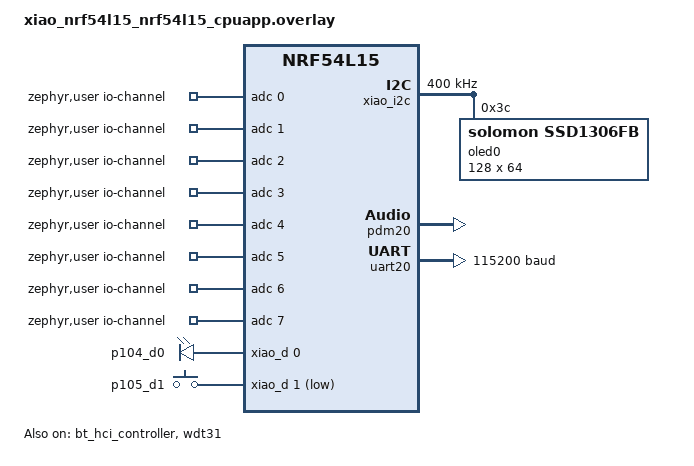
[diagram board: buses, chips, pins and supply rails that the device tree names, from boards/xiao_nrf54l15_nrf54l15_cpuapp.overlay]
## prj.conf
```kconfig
# ── 1. AI ENGINE & C++ ────────────────────────────────────────────────────────
CONFIG_CPP=y
CONFIG_STD_CPP17=y
CONFIG_EXTERNAL_LIBCPP=y
CONFIG_NEWLIB_LIBC=y
CONFIG_NEWLIB_LIBC_FLOAT_PRINTF=y
CONFIG_FPU=y

# ── 2. MEMORY & STACK FIXES ───────────────────────────────────────────────────
CONFIG_MAIN_STACK_SIZE=8192
CONFIG_HEAP_MEM_POOL_SIZE=16384
CONFIG_SYSTEM_WORKQUEUE_STACK_SIZE=4096
CONFIG_BT_RX_STACK_SIZE=2048
CONFIG_BT_HCI_TX_STACK_SIZE=2048
CONFIG_MPSL_WORK_STACK_SIZE=2048

# ── 3. HARDWARE & AUDIO ───────────────────────────────────────────────────────
CONFIG_GPIO=y
CONFIG_AUDIO=y
CONFIG_AUDIO_DMIC=y
CONFIG_REGULATOR=y
# ── 4. BLUETOOTH (Explicitly kill the clash) ──────────────────────────────────
CONFIG_BT=y
CONFIG_BT_PERIPHERAL=y
CONFIG_BT_DEVICE_NAME="XIAO_SENSE"

# 1. Disable the Zephyr Open Source Controller (The cause of the error)
CONFIG_BT_CTLR=n
CONFIG_BT_LL_SW_SPLIT=n

# 2. Enable the Nordic SoftDevice Controller (The one for nRF54L)
CONFIG_BT_LL_SOFTDEVICE=y

# 3. Enable Bluetooth management features
CONFIG_BT_SETTINGS=y
CONFIG_FLASH=y
CONFIG_FLASH_MAP=y
CONFIG_NVS=y
CONFIG_SETTINGS=y

# ── 5. POWER MANAGEMENT ───────────────────────────────────────────────────────
CONFIG_PM=y
CONFIG_PM_DEVICE=y
CONFIG_PM_DEVICE_RUNTIME=y
CONFIG_TICKLESS_KERNEL=y
CONFIG_REGULATOR=y

# ── 6. LOGGING & CONSOLE (Total Silence) ──────────────────────────────────────
CONFIG_LOG=y
CONFIG_SERIAL=y
CONFIG_UART_CONSOLE=y
CONFIG_CONSOLE=y
CONFIG_PRINTK=y
CONFIG_BOOT_BANNER=y
```

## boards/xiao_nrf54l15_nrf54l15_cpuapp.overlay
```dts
/ {
    chosen {
        zephyr,bt-hci   = &bt_hci_sdc;
        zephyr,display  = &oled0;
    };

    zephyr,user {
        io-channels = <&adc 0>, <&adc 1>, <&adc 2>, <&adc 3>,
                      <&adc 4>, <&adc 5>, <&adc 6>, <&adc 7>;
    };

    o_ports {
        compatible = "gpio-leds";
        p104_d0: p104_d0 {
            gpios = <&xiao_d 0 GPIO_ACTIVE_HIGH>;
        };
    };

    i_port {
        compatible = "gpio-keys";
        p105_d1: p105_d1 {
            gpios = <&xiao_d 1 (GPIO_PULL_UP | GPIO_ACTIVE_LOW)>;
            zephyr,code = <INPUT_KEY_ENTER>;
        };
    };

    aliases {
        p104d0 = &p104_d0;
        p105d1 = &p105_d1;
    };
};

/* --- 1. I2C DISPLAY --- */
&xiao_i2c {
    clock-frequency = <400000>;
    status = "okay";
    zephyr,concat-buf-size = <1025>;
    zephyr,flash-buf-max-size = <1025>;
    oled0: ssd1306@3c {
        compatible = "solomon,ssd1306fb";
        reg = <0x3c>;
        width = <128>;
        height = <64>;
        segment-offset = <0>;
        page-offset = <0>;
        display-offset = <0>;
        multiplex-ratio = <63>;
        segment-remap;
        com-invdir;
        prechargep = <0x22>;
    };
};

/* --- 2. BLE CONTROLLER --- */
&bt_hci_controller {
    status = "okay";
};

/* --- 3. AI & AUDIO --- */
&wdt31 {
    status = "okay";
};

dmic_dev: &pdm20 {
    status = "okay";
};

&uart20 {
    current-speed = <115200>;
};
```

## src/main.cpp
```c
/*
 * nRF54L15 — Continuous Keyword Spotting  (sliding-window edition)
 *
 * Key changes vs v1:
 *   • 50% overlapping windows (0.5 s stride over 1.0 s window) so a "hello"
 *     spoken across a chunk boundary is always fully captured in one window.
 *   • No mid-loop audio drain — the overlap itself covers boundaries, and
 *     audio buffered during inference is real signal we want, not garbage.
 *   • "hello" looked up by label name, not hardcoded index 0 — survives
 *     EI project label reordering.
 *   • Detection cooldown prevents one utterance firing 3–4 overlapping windows.
 *   • PDM warmup drain at startup removes oscillator settle-time garbage.
 *   • Dead code (unused best_idx) removed.
 *   • Per-cycle timing printed for profiling.
 */

#include <stdio.h>
#include <string.h>
#include <zephyr/kernel.h>
#include <zephyr/audio/dmic.h>
#include <zephyr/drivers/gpio.h>
#include <zephyr/drivers/regulator.h>
#include <zephyr/bluetooth/bluetooth.h>
#include <zephyr/bluetooth/hci.h>
#include <zephyr/settings/settings.h>
#include <zephyr/pm/device.h>
#include <zephyr/pm/device_runtime.h>
#include <zephyr/sys_clock.h>

#include <edge-impulse-sdk/classifier/ei_run_classifier.h>

// ── 1. CONFIGURATION ──────────────────────────────────────────────────────────

#define SAMPLE_RATE                 16000
#define INF_SECONDS                 1.0f
#define STRIDE_SECONDS              0.5f

// Derived — do not edit these directly
#define INF_SAMPLES                 ((int)(SAMPLE_RATE * INF_SECONDS))    // 16 000
#define STRIDE_SAMPLES              ((int)(SAMPLE_RATE * STRIDE_SECONDS)) //  8 000
#define BLOCK_SIZE                  2048   // bytes per DMIC read block

// Detection tuning
#define HELLO_LABEL                 "Hello"
#define HELLO_CONFIDENCE_THRESHOLD  0.85f  // slightly relaxed from 0.9; tune to taste
#define LED_ON_DURATION_MS          3000

// After a detection, skip this many inference windows before triggering again.
// With a 0.5 s stride, 3 windows = ~1.5 s cooldown. This prevents a single
// utterance from firing multiple times as overlapping windows all score high.
#define DETECTION_COOLDOWN_WINDOWS  3

// ── 2. HARDWARE NODES ─────────────────────────────────────────────────────────

static const struct device *const dmic_dev = DEVICE_DT_GET(DT_NODELABEL(dmic_dev));
static const struct device *const rfsw_pwr = DEVICE_DT_GET_OR_NULL(DT_NODELABEL(rfsw_pwr));
static const struct device *const rfsw_ctl = DEVICE_DT_GET_OR_NULL(DT_NODELABEL(rfsw_ctl));
static const struct gpio_dt_spec led0      = GPIO_DT_SPEC_GET(DT_ALIAS(led0), gpios);

// ── 3. AUDIO BUFFER ───────────────────────────────────────────────────────────
//
// audio_buf always holds the most recent INF_SAMPLES of audio.
// Layout after each slide:
//
//   Before:  [ ── old first half (A) ── | ── old second half (B) ── ]
//   After:   [ ── old second half (B) ── | ── fresh stride (C) ── ]
//
// 50% overlap means any 300–500 ms keyword will be fully inside at least
// one of two consecutive windows regardless of when it started.

static int16_t audio_buf[INF_SAMPLES];
K_MEM_SLAB_DEFINE_STATIC(mem_slab, BLOCK_SIZE, 16, 4);

// ── 4. BLE DATA ───────────────────────────────────────────────────────────────

typedef enum { ADV_STATE_IDLE, ADV_STATE_RUNNING } adv_state_t;
static adv_state_t adv_state = ADV_STATE_IDLE;

static uint8_t __aligned(4) mfg_data[] = { 0x90, 0x05, 0x00 };

static struct bt_data ad[] = {
    BT_DATA_BYTES(BT_DATA_FLAGS, (BT_LE_AD_GENERAL | BT_LE_AD_NO_BREDR)),
    BT_DATA(BT_DATA_MANUFACTURER_DATA, mfg_data, 3),
};
static struct bt_data sd[] = {
    BT_DATA(BT_DATA_NAME_COMPLETE, "XIAO_SENSE", 10),
};

// ── 5. DEFERRED WORK ──────────────────────────────────────────────────────────

static void led_off_work_fn(struct k_work *w)
{
    gpio_pin_set_dt(&led0, 1);  // active-low: 1 = off
}
K_WORK_DELAYABLE_DEFINE(led_off_work, led_off_work_fn);

static void stop_adv_work_fn(struct k_work *w)
{
    if (adv_state == ADV_STATE_RUNNING) {
        bt_le_adv_stop();
        adv_state = ADV_STATE_IDLE;
        printk("[BLE] Radio sleep\n");
    }
}
K_WORK_DELAYABLE_DEFINE(stop_adv_work, stop_adv_work_fn);

// ── 6. RF POWER ───────────────────────────────────────────────────────────────

static void enable_rf_hardware(void)
{
    if (rfsw_pwr && device_is_ready(rfsw_pwr)) regulator_enable(rfsw_pwr);
    if (rfsw_ctl && device_is_ready(rfsw_ctl)) regulator_enable(rfsw_ctl);
    k_msleep(200);
}

// ── 7. BLE ADVERTISING ───────────────────────────────────────────────────────

static void start_advertising(void)
{
    if (adv_state == ADV_STATE_RUNNING) {
        bt_le_adv_update_data(ad, ARRAY_SIZE(ad), sd, ARRAY_SIZE(sd));
        k_work_reschedule(&stop_adv_work, K_MSEC(600));
        return;
    }

    struct bt_le_adv_param adv_param = {
        .id           = BT_ID_DEFAULT,
        .sid          = 0,
        .options      = 0,
        .interval_min = 160,
        .interval_max = 165,
    };

    int err = -EAGAIN;
    for (int attempt = 0; attempt < 3 && err != 0; attempt++) {
        if (attempt > 0) k_msleep(20);
        err = bt_le_adv_start(&adv_param, ad, ARRAY_SIZE(ad), sd, ARRAY_SIZE(sd));
    }

    if (err == 0) {
        adv_state = ADV_STATE_RUNNING;
        printk("[BLE] Burst start\n");
        k_work_reschedule(&stop_adv_work, K_MSEC(600));
    } else {
        printk("[BLE] Adv fail: %d\n", err);
    }
}

// ── 8. AUDIO HELPERS ──────────────────────────────────────────────────────────

// EI get_data callback: converts int16 PCM in audio_buf to float [-1, 1].
static int get_audio_data(size_t offset, size_t length, float *out_ptr)
{
    for (size_t i = 0; i < length; i++) {
        out_ptr[i] = (float)audio_buf[offset + i];
    }
    return 0;
}

// Blocking read of exactly num_samples int16 PCM samples into dst.
// Consumes whatever is already queued in the slab first (including any audio
// that accumulated during the previous inference), then waits for more.
// This is intentional: that buffered audio is real signal, not stale garbage.
static void read_pcm(int16_t *dst, uint32_t num_samples)
{
    uint32_t bytes_needed  = num_samples * sizeof(int16_t);
    uint32_t bytes_written = 0;

    while (bytes_written < bytes_needed) {
        void    *buffer;
        uint32_t size;

        if (dmic_read(dmic_dev, 0, &buffer, &size, 200) < 0) {
            continue;  // slab not yet refilled — retry
        }

        uint32_t to_copy = MIN(size, bytes_needed - bytes_written);
        memcpy((uint8_t *)dst + bytes_written, buffer, to_copy);
        bytes_written += to_copy;
        k_mem_slab_free(&mem_slab, buffer);
    }
}

// Discard any blocks already queued in the slab. Non-blocking (timeout = 0).
// Used ONLY at startup to remove PDM oscillator settle-time garbage.
static void drain_stale_audio(void)
{
    void    *buffer;
    uint32_t size;
    while (dmic_read(dmic_dev, 0, &buffer, &size, 0) >= 0) {
        k_mem_slab_free(&mem_slab, buffer);
    }
}

// ── 9. SLIDING WINDOW ─────────────────────────────────────────────────────────

// Fills audio_buf with the very first INF_SAMPLES. Called once at startup.
static void initial_fill(void)
{
    read_pcm(audio_buf, INF_SAMPLES);
}

// Slides the window forward by STRIDE_SAMPLES:
//   1. Shift the second half of audio_buf into the first half.
//   2. Fill the second half with a fresh STRIDE_SAMPLES from the DMIC.
//
// Because read_pcm drains slab-queued audio before waiting for new blocks,
// audio that buffered during the previous inference is consumed here —
// exactly as if there had been no inference gap.
static void slide_window(void)
{
    memmove(audio_buf,
            audio_buf + STRIDE_SAMPLES,
            STRIDE_SAMPLES * sizeof(int16_t));

    read_pcm(audio_buf + STRIDE_SAMPLES, STRIDE_SAMPLES);
}

// ── 10. INFERENCE ─────────────────────────────────────────────────────────────

static int cooldown_remaining = 0;

static void run_inference(void)
{
    if (cooldown_remaining > 0) {
        cooldown_remaining--;
        return;
    }

    signal_t signal;
    signal.total_length = INF_SAMPLES;
    signal.get_data     = &get_audio_data;
    ei_impulse_result_t result = {0};

    if (run_classifier(&signal, &result, false) != EI_IMPULSE_OK) {
        printk("[ERR] Classifier failed\n");
        return;
    }

    float hello_confidence = 0.0f;
    for (uint16_t i = 0; i < EI_CLASSIFIER_LABEL_COUNT; i++) {
        if (strcmp(result.classification[i].label, HELLO_LABEL) == 0) {
            hello_confidence = result.classification[i].value;
            break;
        }
    }

    if (hello_confidence > HELLO_CONFIDENCE_THRESHOLD) {
        printk("\n╔══════════════════════════════╗\n");
        printk("║   *** HELLO DETECTED ***     ║\n");
        printk("╠══════════════════════════════╣\n");
        printk("║ Confidence : %5.1f %%          ║\n", (double)(hello_confidence * 100.0f));
        printk("║ DSP        : %5d ms          ║\n", result.timing.dsp);
        printk("╚══════════════════════════════╝\n\n");

        //gpio_pin_set_dt(&led0, 0);
        //k_work_reschedule(&led_off_work, K_MSEC(LED_ON_DURATION_MS));

        mfg_data[2] = 1;
        start_advertising();

        cooldown_remaining = DETECTION_COOLDOWN_WINDOWS;
    } else {
        mfg_data[2] = 0;
    }
}

// ── 11. MAIN ──────────────────────────────────────────────────────────────────

int main(void)
{
    enable_rf_hardware();

    //gpio_pin_configure_dt(&led0, GPIO_OUTPUT_INACTIVE);
    //gpio_pin_set_dt(&led0, 1);  // LED off
    k_msleep(500);

    // Bluetooth init
    if (bt_enable(NULL)) {
        printk("[FATAL] BT enable failed\n");
        return 0;
    }
    settings_load();

    // DMIC init
    if (!device_is_ready(dmic_dev)) {
        printk("[FATAL] DMIC not ready\n");
        return 0;
    }

    struct pcm_stream_cfg stream = {
        .pcm_rate   = SAMPLE_RATE,
        .pcm_width  = 16,
        .block_size = BLOCK_SIZE,
        .mem_slab   = &mem_slab,
    };
    struct dmic_cfg cfg = {
        .io      = { .min_pdm_clk_freq = 1000000, .max_pdm_clk_freq = 3500000 },
        .streams = &stream,
        .channel = {
            .req_chan_map_lo = dmic_build_channel_map(0, 0, PDM_CHAN_LEFT),
            .req_num_chan    = 1,
            .req_num_streams = 1,
        },
    };

    if (dmic_configure(dmic_dev, &cfg) < 0) {
        printk("[FATAL] DMIC configure failed\n");
        return 0;
    }
    if (dmic_trigger(dmic_dev, DMIC_TRIGGER_START) < 0) {
        printk("[FATAL] DMIC start failed\n");
        return 0;
    }

    // Warmup: let the PDM oscillator settle, then discard the initial garbage.
    // Without this, the first inference window may contain startup transients
    // that distort the MFCC features and produce false noise classifications.
    k_msleep(200);
    drain_stale_audio();

    printk("[KWS] Listening for '%s'  (stride=%d ms, window=%d ms)\n",
           HELLO_LABEL,
           (int)(STRIDE_SECONDS * 1000),
           (int)(INF_SECONDS   * 1000));

    // Prime audio_buf with the first full second, then enter the sliding loop
    initial_fill();
    run_inference();

    while (1) {
        slide_window();   // shift buffer left, append 0.5 s of fresh audio
        run_inference();  // run EI classifier on the latest 1.0 s window
    }
}
```
